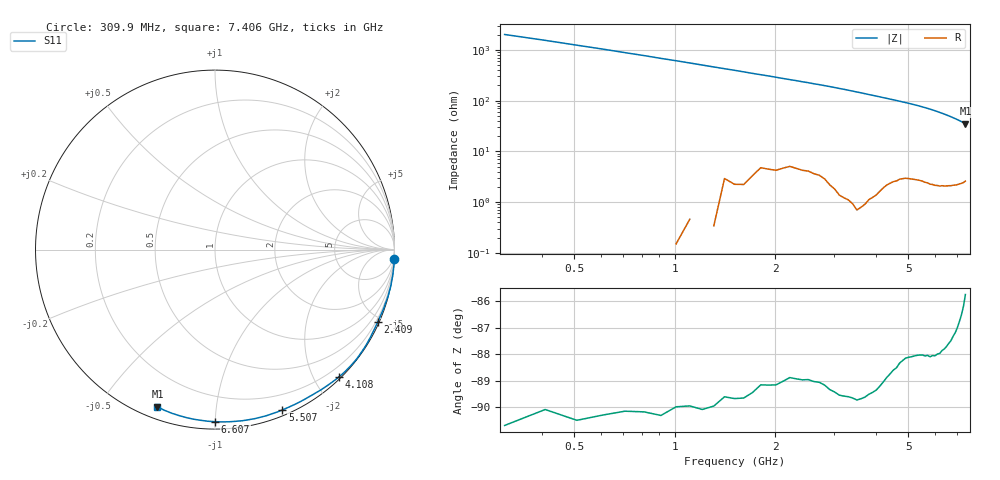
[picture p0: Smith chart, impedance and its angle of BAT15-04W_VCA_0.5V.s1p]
! Infineon Technologies  Discrete & RF Semiconductors
! BAT15-04W-E6327
! VCA = 0.5 V
! One-Port S-Parameters
# Hz  S  MA  R  50
!f  S11
!Hz  Mag  Ang
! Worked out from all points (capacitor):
!   72 points, 309.9 MHz to 7.406 GHz, reference 50 ohm
!   read as one part to ground: C = 253 fF near 309.9 MHz
!   lowest |Z| = 35 ohm at 7.406 GHz (marker M1)
!   S11 on the Smith chart (normalised r, x): 309.9 MHz: -0, -40; 2.409 GHz: 0.08, -4.70; 4.108 GHz: 0.03, -2.37; 5.507 GHz: 0.05, -1.50; 6.607 GHz: 0.04, -1.00; 7.406 GHz: 0.05, -0.70
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3.0985e8  1.001 -2.9
9.0955e8  1.001 -8.4
1.2094e9  1 -11.4
1.6092e9  0.9984 -15.5
2.10895e9  0.994 -20.8
2.4088e9  0.9927 -24.0
2.70865e9  0.9925 -27.3
3.0085e9  0.9949 -30.8
3.2084e9  0.996 -33.3
3.50825e9  0.9971 -37.4
3.6082e9  0.9965 -38.7
3.90805e9  0.9934 -42.9
4.10795e9  0.9901 -45.7
4.6077e9  0.9795 -52.9
4.8076e9  0.9748 -55.9
5.2074e9  0.9706 -62.1
5.4073e9  0.9692 -65.4
5.50725e9  0.9688 -67.2
5.6072e9  0.969 -68.9
5.70715e9  0.9683 -70.8
6.007e9  0.9676 -76.8
6.2069e9  0.9656 -81.0
6.4068e9  0.9624 -85.4
6.6067e9  0.9587 -90.0
6.8066e9  0.9544 -94.8
7.0065e9  0.9496 -99.6
7.2064e9  0.9429 -104.8
7.4063e9  0.9326 -110.1
